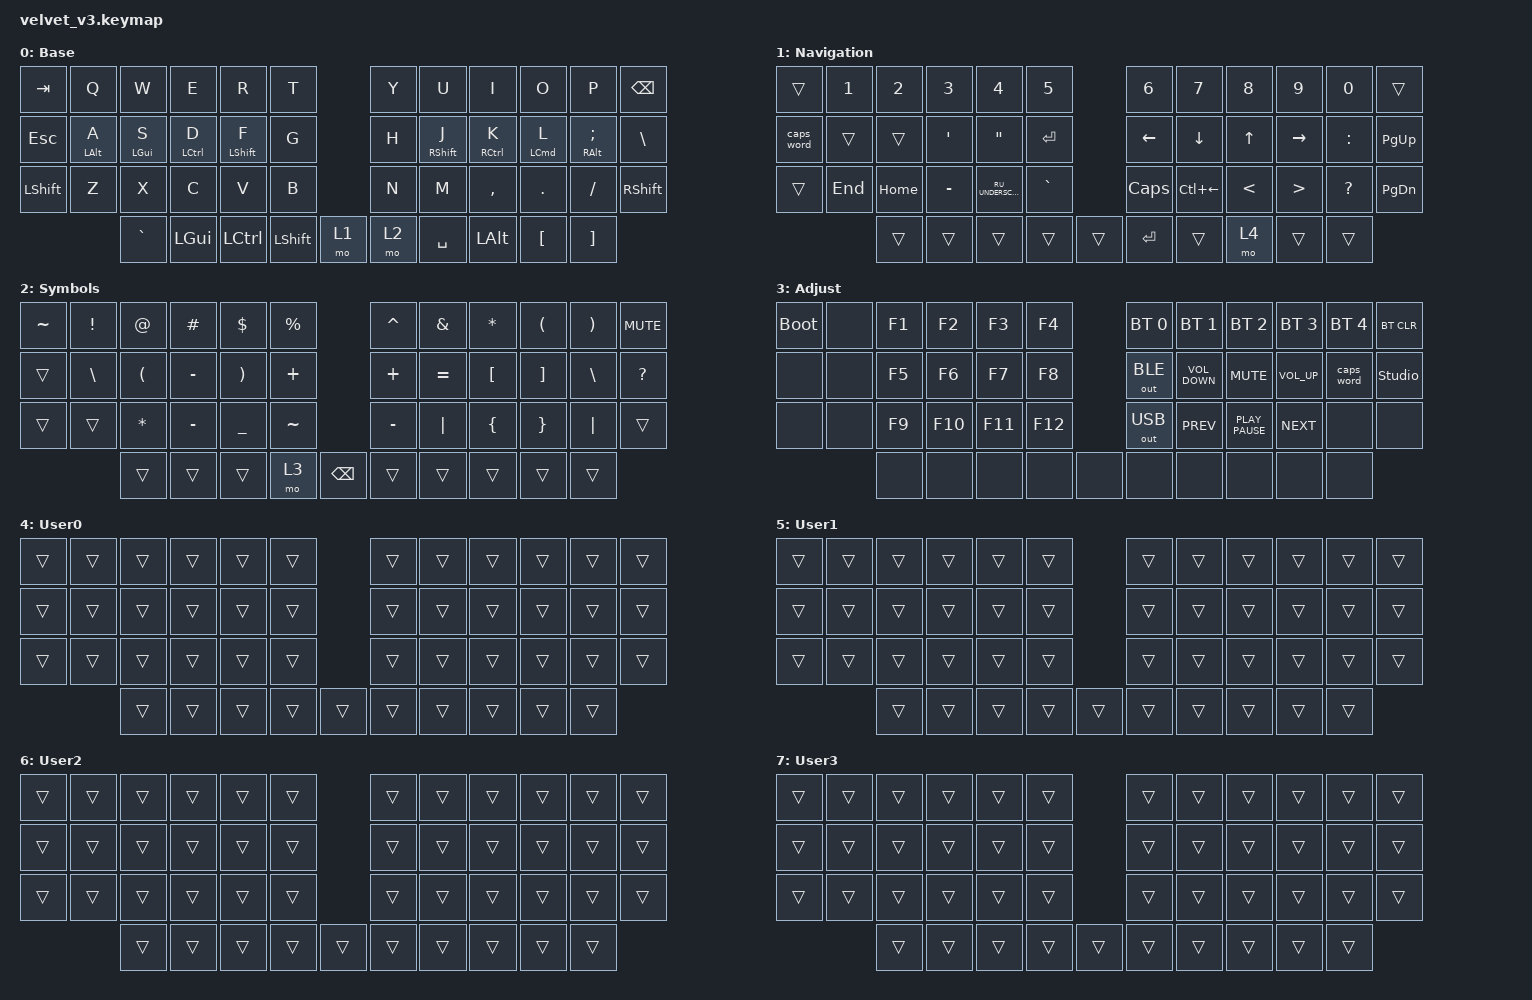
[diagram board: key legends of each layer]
#include "keys_ru.h"
#include <behaviors.dtsi>
#include <dt-bindings/zmk/bt.h>
#include <dt-bindings/zmk/keys.h>
#include <dt-bindings/zmk/outputs.h>

/ {
    behaviors {
        homerow_mod: homerow_mod {
            compatible = "zmk,behavior-hold-tap";
            label = "HOMEROW_MOD";
            bindings = <&kp>, <&kp>;

            #binding-cells = <2>;
            tapping-term-ms = <230>;
            quick-tap-ms = <220>;
            require-prior-idle-ms = <50>;
        };
    };

    keymap {
        compatible = "zmk,keymap";

        base {
            bindings = <
&kp TAB    &kp Q           &kp W           &kp E        &kp R             &kp T                           &kp Y      &kp U        &kp I        &kp O       &kp P               &kp BSPC
&kp ESC    &mt LEFT_ALT A  &mt LEFT_GUI S  &mt LCTRL D  &mt LEFT_SHIFT F  &kp G                           &kp H      &mt RSHFT J  &mt RCTRL K  &mt LCMD L  &mt RIGHT_ALT SEMI  &kp BSLH
&kp LSHFT  &kp Z           &kp X           &kp C        &kp V             &kp B                           &kp N      &kp M        &kp COMMA    &kp DOT     &kp FSLH            &kp RSHFT
                           &kp GRAVE       &kp LGUI     &kp LCTRL         &kp LEFT_SHIFT  &mo 1    &mo 2  &kp SPACE  &kp LALT     &kp LBKT     &kp RBKT
            >;

            display-name = "Base";
        };

        nav {
            bindings = <
&trans      &kp N1   &kp N2    &kp N3            &kp N4             &kp N5                          &kp N6          &kp N7        &kp N8         &kp N9            &kp N0     &trans
&caps_word  &trans   &trans    &kp SINGLE_QUOTE  &kp DQT            &kp RET                         &kp LEFT_ARROW  &kp DOWN      &kp UP         &kp RIGHT         &kp COLON  &kp PAGE_UP
&trans      &kp END  &kp HOME  &kp MINUS         &kp RU_UNDERSCORE  &kp GRAVE                       &kp CLCK        &kp LC(LEFT)  &kp LESS_THAN  &kp GREATER_THAN  &kp QMARK  &kp PAGE_DOWN
                     &trans    &trans            &trans             &trans     &trans    &kp ENTER  &trans          &mo 4         &trans         &trans
            >;

            display-name = "Navigation";
        };

        sym {
            bindings = <
&kp TILDE  &kp EXCL  &kp AT_SIGN  &kp HASH   &kp DOLLAR  &kp PRCNT                           &kp CARET  &kp AMPERSAND  &kp ASTRK       &kp LPAR           &kp RPAR  &kp C_MUTE
&trans     &kp BSLH  &kp LPAR     &kp MINUS  &kp RPAR    &kp PLUS                            &kp PLUS   &kp EQUAL      &kp LBKT        &kp RIGHT_BRACKET  &kp BSLH  &kp QUESTION
&trans     &trans    &kp STAR     &kp MINUS  &kp UNDER   &kp TILDE                           &kp MINUS  &kp PIPE       &kp LEFT_BRACE  &kp RIGHT_BRACE    &kp PIPE  &trans
                     &trans       &trans     &trans      &mo 3      &kp BACKSPACE    &trans  &trans     &trans         &trans          &trans
            >;

            display-name = "Symbols";
        };

        adj {
            bindings = <
&bootloader  &none  &kp F1  &kp F2   &kp F3   &kp F4                   &bt BT_SEL 0  &bt BT_SEL 1       &bt BT_SEL 2      &bt BT_SEL 3     &bt BT_SEL 4  &bt BT_CLR
&none        &none  &kp F5  &kp F6   &kp F7   &kp F8                   &out OUT_BLE  &kp C_VOLUME_DOWN  &kp C_MUTE        &kp C_VOLUME_UP  &caps_word    &studio_unlock
&none        &none  &kp F9  &kp F10  &kp F11  &kp F12                  &out OUT_USB  &kp K_PREV         &kp K_PLAY_PAUSE  &kp K_NEXT       &none         &none
                    &none   &none    &none    &none    &none    &none  &none         &none              &none             &none
            >;

            display-name = "Adjust";
        };

        User0 {
            bindings = <
&trans  &trans  &trans  &trans  &trans  &trans                    &trans  &trans  &trans  &trans  &trans  &trans
&trans  &trans  &trans  &trans  &trans  &trans                    &trans  &trans  &trans  &trans  &trans  &trans
&trans  &trans  &trans  &trans  &trans  &trans                    &trans  &trans  &trans  &trans  &trans  &trans
                &trans  &trans  &trans  &trans  &trans    &trans  &trans  &trans  &trans  &trans
            >;

            display-name = "User0";
        };

        User1 {
            bindings = <
&trans  &trans  &trans  &trans  &trans  &trans                    &trans  &trans  &trans  &trans  &trans  &trans
&trans  &trans  &trans  &trans  &trans  &trans                    &trans  &trans  &trans  &trans  &trans  &trans
&trans  &trans  &trans  &trans  &trans  &trans                    &trans  &trans  &trans  &trans  &trans  &trans
                &trans  &trans  &trans  &trans  &trans    &trans  &trans  &trans  &trans  &trans
            >;

            display-name = "User1";
        };

        User2 {
            bindings = <
&trans  &trans  &trans  &trans  &trans  &trans                    &trans  &trans  &trans  &trans  &trans  &trans
&trans  &trans  &trans  &trans  &trans  &trans                    &trans  &trans  &trans  &trans  &trans  &trans
&trans  &trans  &trans  &trans  &trans  &trans                    &trans  &trans  &trans  &trans  &trans  &trans
                &trans  &trans  &trans  &trans  &trans    &trans  &trans  &trans  &trans  &trans
            >;

            display-name = "User2";
        };

        User3 {
            bindings = <
&trans  &trans  &trans  &trans  &trans  &trans                    &trans  &trans  &trans  &trans  &trans  &trans
&trans  &trans  &trans  &trans  &trans  &trans                    &trans  &trans  &trans  &trans  &trans  &trans
&trans  &trans  &trans  &trans  &trans  &trans                    &trans  &trans  &trans  &trans  &trans  &trans
                &trans  &trans  &trans  &trans  &trans    &trans  &trans  &trans  &trans  &trans
            >;

            display-name = "User3";
        };
    };
};
